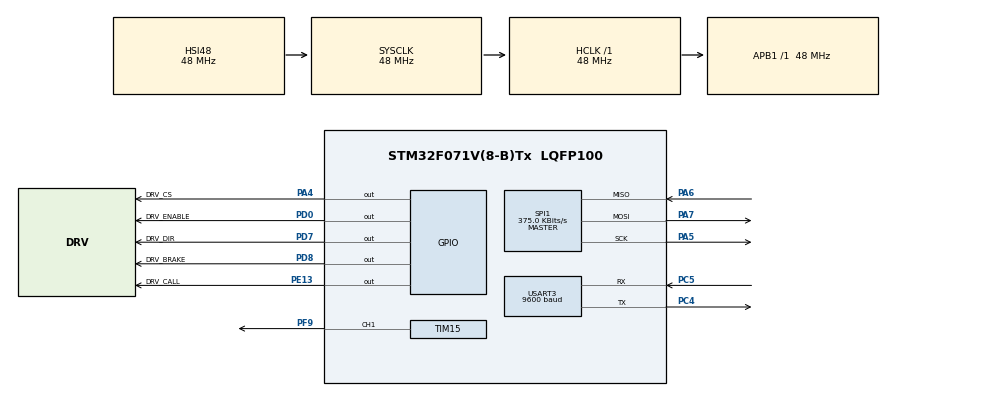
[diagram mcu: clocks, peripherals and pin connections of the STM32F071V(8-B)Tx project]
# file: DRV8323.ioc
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Mcu.Family=STM32F0
Mcu.Name=STM32F071V(8-B)Tx
Mcu.Package=LQFP100
PA13.Mode=Serial_Wire
PA13.Signal=SYS_SWDIO
PA14.Mode=Serial_Wire
PA14.Signal=SYS_SWCLK
PA4.GPIO_Label=DRV_CS
PA4.Signal=GPIO_Output
PA5.Mode=Full_Duplex_Master
PA5.Signal=SPI1_SCK
PA6.Mode=Full_Duplex_Master
PA6.Signal=SPI1_MISO
PA7.Mode=Full_Duplex_Master
PA7.Signal=SPI1_MOSI
PC4.Mode=Asynchronous
PC4.Signal=USART3_TX
PC5.Mode=Asynchronous
PC5.Signal=USART3_RX
PD0.GPIO_Label=DRV_ENABLE
PD0.Signal=GPIO_Output
PD7.GPIO_Label=DRV_DIR
PD7.Signal=GPIO_Output
PD8.GPIO_Label=DRV_BRAKE
PD8.Signal=GPIO_Output
PE13.GPIO_Label=DRV_CALL
PE13.Signal=GPIO_Output
PF0-OSC_IN.Mode=HSE-External-Oscillator
PF0-OSC_IN.Signal=RCC_OSC_IN
PF1-OSC_OUT.Mode=HSE-External-Oscillator
PF1-OSC_OUT.Signal=RCC_OSC_OUT
PF9.Signal=S_TIM15_CH1
ProjectManager.HeapSize=0x200
ProjectManager.StackSize=0x400
ProjectManager.TargetToolchain=STM32CubeIDE
RCC.AHBFreq_Value=48000000
RCC.APB1Freq_Value=48000000
RCC.APB1TimFreq_Value=48000000
RCC.HCLKFreq_Value=48000000
RCC.HSE_VALUE=16000000
RCC.SYSCLKFreq_VALUE=48000000
RCC.SYSCLKSource=RCC_SYSCLKSOURCE_HSI48
SH.S_TIM15_CH1.0=TIM15_CH1,PWM Generation1 CH1
SPI1.BaudRatePrescaler=SPI_BAUDRATEPRESCALER_128
SPI1.CalculateBaudRate=375.0 KBits/s
SPI1.DataSize=SPI_DATASIZE_16BIT
SPI1.Direction=SPI_DIRECTION_2LINES
SPI1.Mode=SPI_MODE_MASTER
SPI1.VirtualType=VM_MASTER
TIM15.Channel-PWM\ Generation1\ CH1=TIM_CHANNEL_1
TIM15.Prescaler=47
TIM17.Prescaler=47
USART3.BaudRate=9600
USART3.VirtualMode-Asynchronous=VM_ASYNC
VP_TIM15_VS_ClockSourceINT.Mode=Internal
VP_TIM17_VS_ClockSourceINT.Mode=Enable_Timer
board=custom

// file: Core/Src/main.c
/* USER CODE BEGIN Header */
/**
  ******************************************************************************
  * @file           : main.c
  * @brief          : Main program body
  ******************************************************************************
  * @attention
  *
  * Copyright (c) 2024 STMicroelectronics.
  * All rights reserved.
  *
  * This software is licensed under terms that can be found in the LICENSE file
  * in the root directory of this software component.
  * If no LICENSE file comes with this software, it is provided AS-IS.
  *
  ******************************************************************************
  */
/* USER CODE END Header */
#include "main.h"

/* USER CODE BEGIN Includes */
#include "../DRV8323_RS/drv8323.h"
#include "../DRV8323_RS/drv8323_spi.h"
#include "stdio.h"
/* USER CODE END Includes */

SPI_HandleTypeDef hspi1;

TIM_HandleTypeDef htim15;
TIM_HandleTypeDef htim17;

UART_HandleTypeDef huart3;

void SystemClock_Config(void);
static void MX_GPIO_Init(void);
static void MX_SPI1_Init(void);
static void MX_TIM15_Init(void);
static void MX_USART3_UART_Init(void);
static void MX_TIM17_Init(void);

/* USER CODE BEGIN 0 */
int _write(int file, char *ptr, int len)
{
	HAL_UART_Transmit(&huart3, (uint8_t *)ptr, len, 1000);
	return len;
}

void delay_us(uint16_t us) {
	 __HAL_TIM_SET_COUNTER(&htim17,0);
	 while(__HAL_TIM_GET_COUNTER(&htim17) < us);
}
/* USER CODE END 0 */

int main(void)
{

  /* MCU Configuration--------------------------------------------------------*/

  /* Reset of all peripherals, Initializes the Flash interface and the Systick. */
  HAL_Init();

  /* Configure the system clock */
  SystemClock_Config();

  /* Initialize all configured peripherals */
  MX_GPIO_Init();
  MX_SPI1_Init();
  MX_TIM15_Init();
  MX_USART3_UART_Init();
  MX_TIM17_Init();
  /* USER CODE BEGIN 2 */
  HAL_Delay(2000);
  printf("---------------------------------------\r\n");
  HAL_TIM_Base_Start(&htim17); //for delay_us
  drv832_reset_fault();
  drv8323_init();
  drv832_set_dir(1);
  drv832_set_speed(50);
  HAL_Delay(1000);
  DRV832x_print_faults();
  drv832_reset_fault();
  DRV832x_print_faults();
  drv832_start();
  HAL_Delay(1000);
  drv832_stop();
  /* USER CODE END 2 */

  /* Infinite loop */
  while (1)
  {

  }
}

void SystemClock_Config(void)
{
  RCC_OscInitTypeDef RCC_OscInitStruct = {0};
  RCC_ClkInitTypeDef RCC_ClkInitStruct = {0};

  /** Initializes the RCC Oscillators according to the specified parameters
  * in the RCC_OscInitTypeDef structure.
  */
  RCC_OscInitStruct.OscillatorType = RCC_OSCILLATORTYPE_HSI48;
  RCC_OscInitStruct.HSI48State = RCC_HSI48_ON;
  RCC_OscInitStruct.PLL.PLLState = RCC_PLL_NONE;
  if (HAL_RCC_OscConfig(&RCC_OscInitStruct) != HAL_OK)
  {
    Error_Handler();
  }

  /** Initializes the CPU, AHB and APB buses clocks
  */
  RCC_ClkInitStruct.ClockType = RCC_CLOCKTYPE_HCLK|RCC_CLOCKTYPE_SYSCLK
                              |RCC_CLOCKTYPE_PCLK1;
  RCC_ClkInitStruct.SYSCLKSource = RCC_SYSCLKSOURCE_HSI48;
  RCC_ClkInitStruct.AHBCLKDivider = RCC_SYSCLK_DIV1;
  RCC_ClkInitStruct.APB1CLKDivider = RCC_HCLK_DIV1;

  if (HAL_RCC_ClockConfig(&RCC_ClkInitStruct, FLASH_LATENCY_1) != HAL_OK)
  {
    Error_Handler();
  }
}

static void MX_SPI1_Init(void)
{

  /* SPI1 parameter configuration*/
  hspi1.Instance = SPI1;
  hspi1.Init.Mode = SPI_MODE_MASTER;
  hspi1.Init.Direction = SPI_DIRECTION_2LINES;
  hspi1.Init.DataSize = SPI_DATASIZE_16BIT;
  hspi1.Init.CLKPolarity = SPI_POLARITY_LOW;
  hspi1.Init.CLKPhase = SPI_PHASE_1EDGE;
  hspi1.Init.NSS = SPI_NSS_SOFT;
  hspi1.Init.BaudRatePrescaler = SPI_BAUDRATEPRESCALER_128;
  hspi1.Init.FirstBit = SPI_FIRSTBIT_MSB;
  hspi1.Init.TIMode = SPI_TIMODE_DISABLE;
  hspi1.Init.CRCCalculation = SPI_CRCCALCULATION_DISABLE;
  hspi1.Init.CRCPolynomial = 7;
  hspi1.Init.CRCLength = SPI_CRC_LENGTH_DATASIZE;
  hspi1.Init.NSSPMode = SPI_NSS_PULSE_ENABLE;
  if (HAL_SPI_Init(&hspi1) != HAL_OK)
  {
    Error_Handler();
  }

}

static void MX_TIM15_Init(void)
{

  TIM_ClockConfigTypeDef sClockSourceConfig = {0};
  TIM_MasterConfigTypeDef sMasterConfig = {0};
  TIM_OC_InitTypeDef sConfigOC = {0};
  TIM_BreakDeadTimeConfigTypeDef sBreakDeadTimeConfig = {0};

  htim15.Instance = TIM15;
  htim15.Init.Prescaler = 47;
  htim15.Init.CounterMode = TIM_COUNTERMODE_UP;
  htim15.Init.Period = 65535;
  htim15.Init.ClockDivision = TIM_CLOCKDIVISION_DIV1;
  htim15.Init.RepetitionCounter = 0;
  htim15.Init.AutoReloadPreload = TIM_AUTORELOAD_PRELOAD_DISABLE;
  if (HAL_TIM_Base_Init(&htim15) != HAL_OK)
  {
    Error_Handler();
  }
  sClockSourceConfig.ClockSource = TIM_CLOCKSOURCE_INTERNAL;
  if (HAL_TIM_ConfigClockSource(&htim15, &sClockSourceConfig) != HAL_OK)
  {
    Error_Handler();
  }
  if (HAL_TIM_PWM_Init(&htim15) != HAL_OK)
  {
    Error_Handler();
  }
  sMasterConfig.MasterOutputTrigger = TIM_TRGO_RESET;
  sMasterConfig.MasterSlaveMode = TIM_MASTERSLAVEMODE_DISABLE;
  if (HAL_TIMEx_MasterConfigSynchronization(&htim15, &sMasterConfig) != HAL_OK)
  {
    Error_Handler();
  }
  sConfigOC.OCMode = TIM_OCMODE_PWM1;
  sConfigOC.Pulse = 0;
  sConfigOC.OCPolarity = TIM_OCPOLARITY_HIGH;
  sConfigOC.OCNPolarity = TIM_OCNPOLARITY_HIGH;
  sConfigOC.OCFastMode = TIM_OCFAST_DISABLE;
  sConfigOC.OCIdleState = TIM_OCIDLESTATE_RESET;
  sConfigOC.OCNIdleState = TIM_OCNIDLESTATE_RESET;
  if (HAL_TIM_PWM_ConfigChannel(&htim15, &sConfigOC, TIM_CHANNEL_1) != HAL_OK)
  {
    Error_Handler();
  }
  sBreakDeadTimeConfig.OffStateRunMode = TIM_OSSR_DISABLE;
  sBreakDeadTimeConfig.OffStateIDLEMode = TIM_OSSI_DISABLE;
  sBreakDeadTimeConfig.LockLevel = TIM_LOCKLEVEL_OFF;
  sBreakDeadTimeConfig.DeadTime = 0;
  sBreakDeadTimeConfig.BreakState = TIM_BREAK_DISABLE;
  sBreakDeadTimeConfig.BreakPolarity = TIM_BREAKPOLARITY_HIGH;
  sBreakDeadTimeConfig.AutomaticOutput = TIM_AUTOMATICOUTPUT_DISABLE;
  if (HAL_TIMEx_ConfigBreakDeadTime(&htim15, &sBreakDeadTimeConfig) != HAL_OK)
  {
    Error_Handler();
  }
  HAL_TIM_MspPostInit(&htim15);

}

static void MX_TIM17_Init(void)
{

  htim17.Instance = TIM17;
  htim17.Init.Prescaler = 47;
  htim17.Init.CounterMode = TIM_COUNTERMODE_UP;
  htim17.Init.Period = 65535;
  htim17.Init.ClockDivision = TIM_CLOCKDIVISION_DIV1;
  htim17.Init.RepetitionCounter = 0;
  htim17.Init.AutoReloadPreload = TIM_AUTORELOAD_PRELOAD_DISABLE;
  if (HAL_TIM_Base_Init(&htim17) != HAL_OK)
  {
    Error_Handler();
  }

}

static void MX_USART3_UART_Init(void)
{

  huart3.Instance = USART3;
  huart3.Init.BaudRate = 9600;
  huart3.Init.WordLength = UART_WORDLENGTH_8B;
  huart3.Init.StopBits = UART_STOPBITS_1;
  huart3.Init.Parity = UART_PARITY_NONE;
  huart3.Init.Mode = UART_MODE_TX_RX;
  huart3.Init.HwFlowCtl = UART_HWCONTROL_NONE;
  huart3.Init.OverSampling = UART_OVERSAMPLING_16;
  huart3.Init.OneBitSampling = UART_ONE_BIT_SAMPLE_DISABLE;
  huart3.AdvancedInit.AdvFeatureInit = UART_ADVFEATURE_NO_INIT;
  if (HAL_UART_Init(&huart3) != HAL_OK)
  {
    Error_Handler();
  }

}

static void MX_GPIO_Init(void)
{
  GPIO_InitTypeDef GPIO_InitStruct = {0};

  /* GPIO Ports Clock Enable */
  __HAL_RCC_GPIOF_CLK_ENABLE();
  __HAL_RCC_GPIOA_CLK_ENABLE();
  __HAL_RCC_GPIOC_CLK_ENABLE();
  __HAL_RCC_GPIOE_CLK_ENABLE();
  __HAL_RCC_GPIOD_CLK_ENABLE();

  /*Configure GPIO pin Output Level */
  HAL_GPIO_WritePin(DRV_CS_GPIO_Port, DRV_CS_Pin, GPIO_PIN_RESET);

  /*Configure GPIO pin Output Level */
  HAL_GPIO_WritePin(DRV_CALL_GPIO_Port, DRV_CALL_Pin, GPIO_PIN_RESET);

  /*Configure GPIO pin Output Level */
  HAL_GPIO_WritePin(GPIOD, DRV_BRAKE_Pin|DRV_ENABLE_Pin|DRV_DIR_Pin, GPIO_PIN_RESET);

  /*Configure GPIO pin : DRV_CS_Pin */
  GPIO_InitStruct.Pin = DRV_CS_Pin;
  GPIO_InitStruct.Mode = GPIO_MODE_OUTPUT_PP;
  GPIO_InitStruct.Pull = GPIO_NOPULL;
  GPIO_InitStruct.Speed = GPIO_SPEED_FREQ_LOW;
  HAL_GPIO_Init(DRV_CS_GPIO_Port, &GPIO_InitStruct);

  /*Configure GPIO pin : DRV_CALL_Pin */
  GPIO_InitStruct.Pin = DRV_CALL_Pin;
  GPIO_InitStruct.Mode = GPIO_MODE_OUTPUT_PP;
  GPIO_InitStruct.Pull = GPIO_NOPULL;
  GPIO_InitStruct.Speed = GPIO_SPEED_FREQ_LOW;
  HAL_GPIO_Init(DRV_CALL_GPIO_Port, &GPIO_InitStruct);

  /*Configure GPIO pins : DRV_BRAKE_Pin DRV_ENABLE_Pin DRV_DIR_Pin */
  GPIO_InitStruct.Pin = DRV_BRAKE_Pin|DRV_ENABLE_Pin|DRV_DIR_Pin;
  GPIO_InitStruct.Mode = GPIO_MODE_OUTPUT_PP;
  GPIO_InitStruct.Pull = GPIO_NOPULL;
  GPIO_InitStruct.Speed = GPIO_SPEED_FREQ_LOW;
  HAL_GPIO_Init(GPIOD, &GPIO_InitStruct);

}

void Error_Handler(void)
{
  __disable_irq();
  while (1)
  {
  }
}
